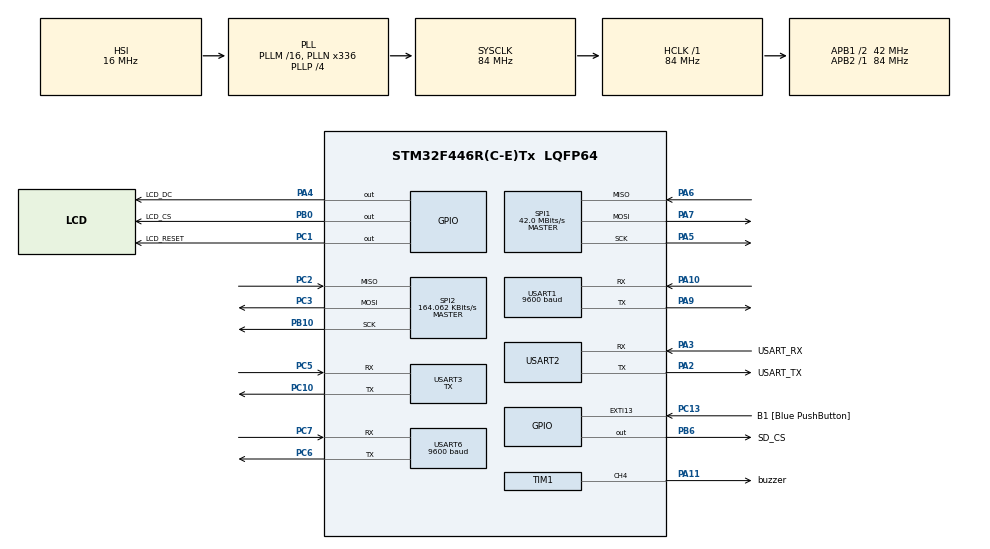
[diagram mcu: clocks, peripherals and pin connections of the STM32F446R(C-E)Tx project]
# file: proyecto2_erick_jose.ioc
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FATFS._MAX_SS=4096
FATFS._USE_LFN=1
Mcu.Family=STM32F4
Mcu.Name=STM32F446R(C-E)Tx
Mcu.Package=LQFP64
NVIC.PriorityGroup=NVIC_PRIORITYGROUP_0
NVIC.USART1_IRQn=true\:0\:0\:false\:false\:true\:true\:true\:true
NVIC.USART2_IRQn=true\:0\:0\:false\:false\:true\:true\:true\:true
NVIC.USART6_IRQn=true\:0\:0\:false\:false\:true\:true\:true\:true
PA10.Mode=Asynchronous
PA10.Signal=USART1_RX
PA11.GPIO_Label=buzzer
PA11.Signal=S_TIM1_CH4
PA13.GPIO_Label=TMS
PA13.Mode=Serial_Wire
PA13.Signal=SYS_JTMS-SWDIO
PA14.GPIO_Label=TCK
PA14.Mode=Serial_Wire
PA14.Signal=SYS_JTCK-SWCLK
PA2.GPIO_Label=USART_TX
PA2.Mode=Asynchronous
PA2.Signal=USART2_TX
PA3.GPIO_Label=USART_RX
PA3.Mode=Asynchronous
PA3.Signal=USART2_RX
PA4.GPIO_Label=LCD_DC
PA4.Signal=GPIO_Output
PA5.Mode=Full_Duplex_Master
PA5.Signal=SPI1_SCK
PA6.Mode=Full_Duplex_Master
PA6.Signal=SPI1_MISO
PA7.Mode=Full_Duplex_Master
PA7.Signal=SPI1_MOSI
PA9.Mode=Asynchronous
PA9.Signal=USART1_TX
PB0.GPIO_Label=LCD_CS
PB0.Signal=GPIO_Output
PB10.Mode=Full_Duplex_Master
PB10.Signal=SPI2_SCK
PB3.GPIO_Label=SWO
PB3.Signal=SYS_JTDO-SWO
PB6.GPIO_Label=SD_CS
PB6.PinState=GPIO_PIN_SET
PB6.Signal=GPIO_Output
PC1.GPIO_Label=LCD_RESET
PC1.Signal=GPIO_Output
PC10.Mode=Asynchronous
PC10.Signal=USART3_TX
PC13.GPIO_Label=B1 [Blue PushButton]
PC13.GPIO_ModeDefaultEXTI=GPIO_MODE_IT_FALLING
PC13.Signal=GPXTI13
PC14-OSC32_IN.Mode=LSE-External-Oscillator
PC14-OSC32_IN.Signal=RCC_OSC32_IN
PC15-OSC32_OUT.Mode=LSE-External-Oscillator
PC15-OSC32_OUT.Signal=RCC_OSC32_OUT
PC2.Mode=Full_Duplex_Master
PC2.Signal=SPI2_MISO
PC3.Mode=Full_Duplex_Master
PC3.Signal=SPI2_MOSI
PC5.Mode=Asynchronous
PC5.Signal=USART3_RX
PC6.Mode=Asynchronous
PC6.Signal=USART6_TX
PC7.Mode=Asynchronous
PC7.Signal=USART6_RX
PH0-OSC_IN.Mode=HSE-External-Oscillator
PH0-OSC_IN.Signal=RCC_OSC_IN
PH1-OSC_OUT.Mode=HSE-External-Oscillator
PH1-OSC_OUT.Signal=RCC_OSC_OUT
ProjectManager.HeapSize=0x200
ProjectManager.StackSize=0x400
ProjectManager.TargetToolchain=STM32CubeIDE
RCC.48MHZClocksFreq_Value=84000000
RCC.AHBFreq_Value=84000000
RCC.APB1CLKDivider=RCC_HCLK_DIV2
RCC.APB1Freq_Value=42000000
RCC.APB1TimFreq_Value=84000000
RCC.APB2Freq_Value=84000000
RCC.APB2TimFreq_Value=84000000
RCC.CortexFreq_Value=84000000
RCC.FLatency-AdvancedSettings=FLASH_LATENCY_2
RCC.HCLKFreq_Value=84000000
RCC.HSE_VALUE=8000000
RCC.HSI_VALUE=16000000
RCC.PLLN=336
RCC.PLLP=RCC_PLLP_DIV4
RCC.SYSCLKFreq_VALUE=84000000
RCC.SYSCLKSource=RCC_SYSCLKSOURCE_PLLCLK
RCC.USBFreq_Value=168000000
RCC.VCOOutputFreq_Value=336000000
SH.S_TIM1_CH4.0=TIM1_CH4,PWM Generation4 CH4
SPI1.BaudRatePrescaler=SPI_BAUDRATEPRESCALER_2
SPI1.CalculateBaudRate=42.0 MBits/s
SPI1.Direction=SPI_DIRECTION_2LINES
SPI1.Mode=SPI_MODE_MASTER
SPI1.VirtualType=VM_MASTER
SPI2.BaudRatePrescaler=SPI_BAUDRATEPRESCALER_256
SPI2.CalculateBaudRate=164.062 KBits/s
SPI2.Direction=SPI_DIRECTION_2LINES
SPI2.Mode=SPI_MODE_MASTER
SPI2.VirtualType=VM_MASTER
TIM1.AutoReloadPreload=TIM_AUTORELOAD_PRELOAD_ENABLE
TIM1.Channel-PWM\ Generation4\ CH4=TIM_CHANNEL_4
TIM1.Period=100-1
TIM1.Pulse-PWM\ Generation4\ CH4=50
USART1.BaudRate=9600
USART1.Mode=MODE_RX
USART1.VirtualMode=VM_ASYNC
USART2.VirtualMode=VM_ASYNC
USART3.Mode=MODE_TX
USART3.VirtualMode=VM_ASYNC
USART6.BaudRate=9600
USART6.Mode=MODE_RX
USART6.VirtualMode=VM_ASYNC
VP_FATFS_VS_Generic.Mode=User_defined
VP_TIM1_VS_ClockSourceINT.Mode=Internal
board=NUCLEO-F446RE

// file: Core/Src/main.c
/* USER CODE BEGIN Header */
/**
  ******************************************************************************
  * @file           : main.c
  * @brief          : Main program body
  ******************************************************************************
  * @attention
  *
  * Copyright (c) 2026 STMicroelectronics.
  * All rights reserved.
  *
  * This software is licensed under terms that can be found in the LICENSE file
  * in the root directory of this software component.
  * If no LICENSE file comes with this software, it is provided AS-IS.
  *
  ******************************************************************************
  */
/* USER CODE END Header */
#include "main.h"
#include "fatfs.h"

/* USER CODE BEGIN Includes */
#include "ili9341.h"
#include "bitmaps.h"
//musica
#include <stdio.h>
#include <string.h>
#include "math.h"
#include "pitches.h"
//----------SD--------//
#include "fatfs_sd.h"

/* USER CODE END Includes */

/* USER CODE BEGIN PTD */
typedef enum{
	ESTADO_MENU,
	ESTADO_JUG1,
	ESTADO_JUG2,
	ESTADO_VICTORIA
}GameState;

typedef struct{
	float x, y;
	int w, h;
	int vivo;
	int explosion;
	int frame_explosion;
	int frame;
}Nave;

typedef struct{
	float x, y;
	int activo;
}Bala;

typedef enum{
	ENTRANDO,
	FORMACION//,
	//INACTIVO,
	//ENTRADA_SENO,
	//ENTRADA_LOOP,
	//ATAQUE
}EstadoAlien;

typedef struct{
	float x, y;												//posicion
	float x_base, y_base;									//centro de formacion
	int vivo;												//1 alien vivo, 0 alien muerto
	int tipo;												//tipo de alien (de los 4 sprites)
	int w, h;												//width y height
	int frame;												//animacion
	int explosion;
	int frame_explosion;
	float t;												//tiempo/anngulo para seno
	float amplitud;											//q tan rapido se mueve el alien
	float frecuencia; 										//q tan rapido oscila
	EstadoAlien estado;
}Alien;

/* USER CODE END PTD */

/* USER CODE BEGIN PD */
#define TIM_FREQ 84000000
//#define ARR 100
#define TIM_ARR_VAL 100
#define CMD_IZQ      0x01
#define CMD_IZQ_OFF  0x02
#define CMD_DER      0x03
#define CMD_DER_OFF  0x04
#define CMD_DIS      0x05
#define CMD_DIS_OFF  0x06
#define CMD_SEL		 0x07
#define CMD_SEL_OFF  0x08
#define CMD_ARR      0x09
#define CMD_ARR_OFF  0x0A
#define CMD_ABJ      0x0B
#define CMD_ABJ_OFF  0x0C

//audio
#define SND_MENU       0x01
#define SND_JUEGO      0x02
#define SND_DISPARO    0x03
#define SND_EXPLOSION  0x04
#define SND_NAVE_CAE   0x05
#define SND_VICTORIA   0x06
#define SND_PUNTAJE 0x07
#define SND_ALIEN_ROJO 0x08
#define SND_ALIEN_AZUL 0x09
#define SND_VERDE_F1 0x0a
#define SND_VERDE_F2 0x0b

//-------DEF SD----------------//
//SPI_HandleTypeDef hspi2;
FATFS fs;
FATFS *pfs;
FIL fil;
FRESULT fres;
DWORD fre_clust;
uint32_t totalSpace, freeSpace;
char buffer[100];
/* USER CODE END PD */

SPI_HandleTypeDef hspi1;
SPI_HandleTypeDef hspi2;

TIM_HandleTypeDef htim1;

UART_HandleTypeDef huart1;
UART_HandleTypeDef huart2;
UART_HandleTypeDef huart3;
UART_HandleTypeDef huart6;

/* USER CODE BEGIN PV */
extern const uint16_t fondo[];
extern const uint16_t espacio[];
extern const uint16_t inicio[];

//-----------Menu-------------//
GameState modoActual = ESTADO_MENU;
int SeleccionMenu = 0;
Nave J1, J2;
uint32_t timerNaves = 0;
static int seleccionPrevia = -1;
static uint8_t musicaMenu = 0;
static uint8_t musicaJuego = 0;

//--------Stages-------------//
int StageActual = 1;
int MaxStages = 6;
uint8_t mostrandoStage = 0;
uint32_t timerStage = 0;
int StageAliens = 4;
int MaxAliens = 4;
#define DURACION_STAGE_MS 2500

//---------Controles---------//
uint8_t rxByte1;
uint8_t rxByte2;
volatile uint8_t nave1_izq = 0;
volatile uint8_t nave1_der = 0;
volatile uint8_t nave1_dis = 0;
volatile uint8_t nave1_sel = 0;
volatile uint8_t nave1_arr = 0;
volatile uint8_t nave1_abj = 0;
volatile uint8_t nave2_izq = 0;
volatile uint8_t nave2_der = 0;
volatile uint8_t nave2_dis = 0;
volatile uint8_t nave2_sel = 0;
volatile uint8_t nave2_arr = 0;
volatile uint8_t nave2_abj = 0;

//-------Puntaje----------------//
char Score[30];

//-------Despliege de aliens----//
#define MAX_ALIENS 12
Alien Enemigos[MAX_ALIENS];
int frameActual = 0;
uint32_t timerAliens = 0;
uint32_t timerAnimacionAliens = 0;
int AlienActual = 0;
uint32_t tiempoSpawn = 0;
static float vaiven = 0;
int aliensVivos = 0;

//---Disparo de naves/aliens---//
#define MAX_BALAS 5
Bala disparo_J1[MAX_BALAS];
Bala disparo_J2[MAX_BALAS];
uint32_t timerBalas = 0;
Bala balas_aliens[MAX_BALAS];
uint32_t timerBalasAliens = 0;
int scoreJ1 = 0, scoreJ2 = 0;
int CausaVictoria = 0;
uint32_t timerExplo = 0;
/* USER CODE END PV */

void SystemClock_Config(void);
static void MX_GPIO_Init(void);
static void MX_SPI1_Init(void);
static void MX_TIM1_Init(void);
static void MX_USART2_UART_Init(void);
static void MX_USART1_UART_Init(void);
static void MX_USART6_UART_Init(void);
static void MX_SPI2_Init(void);
static void MX_USART3_UART_Init(void);
/* USER CODE BEGIN PFP */
void PantallaInicio(void);
void Dibujar(void);
void MostrarStage(int stage);
void Limpiar(void);
void InitStage1(void);
void InitStage2(void);
void InitStage3(void);
void Iniciar(int stage);
void InitEnemigos(int stage);
void MoverAliens(void);
void MoverNaves(void);
void InitJuego1(void);
void Disparar(int jugador);
int ChequearColision(float x1, float y1, int w1, int h1, float x2, float y2, int w2, int h2);
void ActualizarBalas(void);
void InitJuego2(void);
void GuardarScoreSD(char* evento);
void Ganador_J1(void);
void Ganador_J2(void);
void Marco(void);
void transicion(void);
/* USER CODE END PFP */

/* USER CODE BEGIN 0 */
void Musica_Comando(uint8_t cmd) {
    HAL_UART_Transmit(&huart3, &cmd, 1, 100);
}

void PantallaInicio(void)
{
	LCD_Bitmap(0, 0, 320, 240, inicio);

	//Texto pantalla de inicio
	LCD_Print("1UP", 10, 5, 1, 0xF800, 0x0000);
	LCD_Print("00", 18, 15, 1, 0xFFFF, 0x0000);
	LCD_Print("HIGH-SCORE", 110, 5, 1, 0xF800, 0x0000);
	LCD_Print("30000", 123, 15, 1, 0xFFFF, 0x0000);
	LCD_Print("2UP", 280, 5, 1, 0xF800, 0x0000);
	LCD_Print("00", 288, 15, 1, 0xFFFF, 0x0000);
	//Logo
	LCD_Bitmap(80, 35, 160, 95, galagazo);
	LCD_Print("1 PLAYER", 90, 140, 2, 0xFFFF, 0x0000);
	LCD_Print("2 PLAYER", 90, 165, 2, 0xFFFF, 0x0000);
	LCD_Print("Jose Orozco - 231093", 95, 205, 1, 0xFFFF, 0x0000);
	LCD_Print("Erick Perez - 23001", 95, 225, 1, 0xFFFF, 0x0000);

}

void MostrarStage(int stage)
{
	FillRect(55, 90, 210, 55, 0x0000);
	FillRect(55, 90, 210, 3, 0xF800);
	FillRect(55, 142, 210, 3, 0xF800);
	FillRect(55, 90, 3, 55, 0xF800);
	FillRect(262, 90, 3, 55, 0xF800);
	char mensaje[20];
	sprintf(mensaje, "STAGE %d", stage);
	LCD_Print(mensaje, 100, 113, 2, 0xFD20, 0x0000);
	Musica_Comando(0x02);
}

void Limpiar(void)
{
	FillRect(55, 90, 210, 55, 0x0000);
}

void InitStage1(void)
{
	float posiciones[4] = {60, 130, 190, 260};
	int tipos[4] = {0, 0, 1, 1};

	for(int i = 0; i < 4; i++)
	{
		Enemigos[i].x_base = posiciones[i];
		Enemigos[i].y_base = 55;
		Enemigos[i].x = Enemigos[i].x_base;
		Enemigos[i].y = -20;
		Enemigos[i].vivo = 0;
		Enemigos[i].explosion = 0;
		Enemigos[i].frame_explosion = 0;
		Enemigos[i].estado = ENTRANDO;
		Enemigos[i].tipo = tipos[i];
		Enemigos[i].amplitud = 35.0;
		Enemigos[i].t = 0;

		switch(Enemigos[i].tipo)
		{
		case 0:
			Enemigos[i].w = 19;			//verde
			Enemigos[i].h = 17;
			break;
		case 1:
			Enemigos[i].w = 17;			//rojo
			Enemigos[i].h = 16;
			break;
		}
	}
	for(int i = 4; i < MAX_ALIENS; i++)
	{
		Enemigos[i].vivo = 0;
		Enemigos[i].explosion = 0;
	}
}

void InitStage2(void)
{
	float posiciones[4] = {60, 130, 190, 260};

	for(int i = 4; i < 8; i++)
	{
		Enemigos[i].x_base = posiciones[i - 4];
		Enemigos[i].y_base = 90;
		Enemigos[i].x = -20;
		Enemigos[i].y = 90;
		Enemigos[i].vivo = 0;
		Enemigos[i].explosion = 0;
		Enemigos[i].frame_explosion = 0;
		Enemigos[i].estado = ENTRANDO;
		Enemigos[i].tipo = 2;
		Enemigos[i].amplitud = 30.0;
		Enemigos[i].t = 0;
		Enemigos[i].w = 17;
		Enemigos[i].h = 14;

	}
	for(int i = 8; i < MAX_ALIENS; i++){
		Enemigos[i].vivo = 0;
		Enemigos[i].explosion = 0;
	}
}

void InitStage3(void)
{
	float posiciones[4] = {60, 130, 190, 260};

	for(int i = 8; i < 12; i++)
	{
		Enemigos[i].x_base = posiciones[i - 8];
		Enemigos[i].y_base = 125;
		Enemigos[i].x = 320;
		Enemigos[i].y = 125;
		Enemigos[i].vivo = 0;
		Enemigos[i].explosion = 0;
		Enemigos[i].frame_explosion = 0;
		Enemigos[i].estado = ENTRANDO;
		Enemigos[i].tipo = 3;
		Enemigos[i].amplitud = 25.0;
		Enemigos[i].t = 0;
		Enemigos[i].w = 19;
		Enemigos[i].h = 17;

	}
}

void Iniciar(int stage)
{
	vaiven = 0;

	for(int i = 0; i < MAX_BALAS; i++)
	{
		disparo_J1[i].activo = 0;
		disparo_J2[i].activo = 0;
		balas_aliens[i].activo = 0;
	}

	for(int i = 0; i < MAX_ALIENS; i++){
		Enemigos[i].vivo = 0;
		Enemigos[i].explosion = 0;
	}

	if(stage == 1)
	{

		AlienActual = 0;
		MaxAliens = 4;
		InitStage1();
	}else if(stage == 2){
		InitStage1();
		InitStage2();
		AlienActual = 0;
		MaxAliens = 8;
	}else if(stage == 3){
		InitStage1();
		InitStage2();
		InitStage3();
		AlienActual = 0;
		MaxAliens = 12;
	}else{
		InitStage1();
		InitStage2();
		InitStage3();
		AlienActual = 0;
		MaxAliens = 12;
	}
	aliensVivos = 0;
	transicion();
	LCD_Clear(0x0000);
	Dibujar();
	mostrandoStage = 1;
	timerStage = HAL_GetTick();
	MostrarStage(stage);
}

void InitJuego1(void)
{
	J1.x = 152;
	J1.y = 210;
	J1.w = 17;
	J1.h = 15;
	J1.vivo = 1;
	J1.explosion = 0;
	J1.frame_explosion = 0;

	StageActual = 1;
	for(int i = 0; i < MAX_ALIENS; i++){
		Enemigos[i].vivo = 0;
		Enemigos[i].explosion = 0;
	}

	Iniciar(1);
}

void InitJuego2(void)
{
	J1.x = 70;
	J1.y = 210;
	J1.w = 17;
	J1.h = 15;
	J1.vivo = 1;
	J1.explosion = 0;
	J1.frame_explosion = 0;

	J2.x = 230;
	J2.y = 210;
	J2.w = 17;
	J2.h = 15;
	J2.vivo = 1;
	J2.explosion = 0;
	J2.frame_explosion = 0;

	StageActual = 1;
	for(int i = 0; i < MAX_ALIENS; i++){
		Enemigos[i].vivo = 0;
		Enemigos[i].explosion = 0;
	}
	Iniciar(1);
}

void MoverAliens(void)
{
	float vaiven_limpieza = vaiven;
	vaiven += 0.035;
	float offsetFormacion = sin(vaiven) * 40.0;
	float offsetViejo = sin(vaiven_limpieza) * 40.0;
	int dxFormacion = (int)offsetFormacion - (int)offsetViejo;

	for(int i = 0; i < MAX_ALIENS; i++){
		if(Enemigos[i].vivo || Enemigos[i].explosion)
		{
			if(Enemigos[i].explosion){
				FillRect((int)Enemigos[i].x, (int)Enemigos[i].y, 30, 30, 0x0000);
				LCD_Sprite((int)Enemigos[i].x, (int)Enemigos[i].y, 21, 19, explosion_alien, 4, Enemigos[i].frame_explosion, 0, 0, 0x0000);
			}else{
				int FrameADibujar = frameActual;
				switch(Enemigos[i].estado)
				{
				case ENTRANDO:
					float x_ant = Enemigos[i].x;
					float y_ant = Enemigos[i].y;
					if(Enemigos[i].tipo < 2){
						Enemigos[i].y += 1.6;
						float lado = (Enemigos[i].x_base < 160.0) ? 1.0 : -1.0;
						float inicio_x = (lado > 0) ? 40.0 : 280.0;
						float progreso = (Enemigos[i].y + 20.0) / (Enemigos[i].y_base + 20);
						if (progreso > 1.0){
							progreso = 1.0;
						}
						float centro_x = inicio_x + (Enemigos[i].x_base - inicio_x) * progreso;
						float zigzag = lado * sin(Enemigos[i].y * 0.05) * Enemigos[i].amplitud * (1.0 - progreso);
						Enemigos[i].x = centro_x + zigzag;
					}else if(Enemigos[i].tipo == 2){
						Enemigos[i].x += 2.5;
					}else if(Enemigos[i].tipo == 3){
						Enemigos[i].x -= 2.5;
					}

					int dx = (int)Enemigos[i].x - (int)x_ant;
					int dy = (int)Enemigos[i].y - (int)y_ant;
					//int margen = 6;
					if(dx > 0)
					{
						FillRect((int)x_ant, (int)y_ant, dx, Enemigos[i].h, 0x0000);
					}else if(dx < 0){
						FillRect((int)Enemigos[i].x + Enemigos[i].w, (int)y_ant, -dx, Enemigos[i].h, 0x0000);
					}
					if(dy > 0)
					{
						FillRect((int)x_ant, (int)y_ant, Enemigos[i].w, dy, 0x0000);
					}

					if(Enemigos[i].tipo < 2){
						if(Enemigos[i].y >= Enemigos[i].y_base){
							FillRect((int)x_ant, (int)y_ant, Enemigos[i].w + 2, Enemigos[i].h + 2, 0x0000);
							Enemigos[i].y = Enemigos[i].y_base;
							Enemigos[i].estado = FORMACION;
						}
					}else{
						if((Enemigos[i].tipo == 2 && Enemigos[i].x >= Enemigos[i].x_base) || (Enemigos[i].tipo == 3 && Enemigos[i].x <= Enemigos[i].x_base)){
							Enemigos[i].x = Enemigos[i].x_base;
							Enemigos[i].estado = FORMACION;
						}
					}

					break;
				case FORMACION:
					Enemigos[i].x = Enemigos[i].x_base + offsetFormacion;
					Enemigos[i].y = Enemigos[i].y_base;
					FrameADibujar = frameActual % 2;
					if(dxFormacion > 0)
					{
						FillRect((int)Enemigos[i].x_base + offsetViejo, (int)Enemigos[i].y, dxFormacion, Enemigos[i].h, 0x0000);
					}else if(dxFormacion < 0){
						FillRect((int)Enemigos[i].x + Enemigos[i].w, (int)Enemigos[i].y, -dxFormacion, Enemigos[i].h, 0x0000);
					}
					break;
				}
				const uint16_t *spriteActual;
				if(Enemigos[i].tipo	== 0)
				{
					spriteActual = alien_verde;
				}
				else if(Enemigos[i].tipo == 1)
				{
					spriteActual = alien_rojo;
				}
				else if(Enemigos[i].tipo == 2)
				{
					spriteActual = mosca;
				}
				else
				{
					spriteActual = alien_azul;
				}
				LCD_Sprite((int)Enemigos[i].x, (int)Enemigos[i].y, (int)Enemigos[i].w, (int)Enemigos[i].h, spriteActual, 8, FrameADibujar, 0, 0, 0x0000);
			}
		}
	}
}

void MoverNaves(void)
{
	if(J1.vivo || J1.explosion)
	{
		if(J1.explosion){
			FillRect((int)J1.x - 5, (int)J1.y - 5, 34, 34, 0x0000);
			LCD_Sprite((int)J1.x, (int)J1.y, 30, 32, explosion_nave, 4, J1.frame_explosion, 0, 0, 0x0000);
		}else{
			float x_prev = J1.x;
			if(nave1_izq && J1.x > 0){
				J1.x -= 2.5;
			}
			if(nave1_der){
				float limite = (modoActual == ESTADO_JUG2) ? 143 : 303;
				if(J1.x < limite)
				{
					J1.x += 2.5;
				}
			}
			int dx = (int)J1.x - (int)x_prev;
			if(dx > 0){
				FillRect((int)x_prev, (int)J1.y, dx, J1.h, 0x0000);
			}else if(dx < 0){
				FillRect((int)J1.x + J1.w, (int)J1.y, -dx, J1.h, 0x0000);
			}
			LCD_Sprite((int)J1.x, (int)J1.y, J1.w, J1.h, navesita, 3, frameActual % 3, 0, 0, 0x0000);
		}
	}

	if(modoActual == ESTADO_JUG2 && (J2.vivo || J2.explosion))
	{
		if(J2.explosion){
			FillRect((int)J2.x - 5, (int)J2.y - 5, 34, 34, 0x0000);
			LCD_Sprite((int)J2.x, (int)J2.y, 30, 32, explosion_nave, 4, J2.frame_explosion, 0, 1, 0x0000);
		}else{
			float x_prev = J2.x;
			if(nave2_izq && J2.x > 162){
				J2.x -= 2.5;
			}
			if(nave2_der && J2.x < 303){
				J2.x += 2.5;
			}
			int dx = (int)J2.x - (int)x_prev;
			if(dx > 0){
				FillRect((int)x_prev, (int)J2.y, dx, J2.h, 0x0000);
			}else if(dx < 0){
				FillRect((int)J2.x + J2.w, (int)J2.y, -dx, J1.h, 0x0000);
			}
			LCD_Sprite((int)J2.x, (int)J2.y, J2.w, J2.h, navesita, 3, frameActual % 3, 1, 0, 0x0000);
		}
	}
}

void Marco(void)
{
	Rect(0, 0, 319, 239, 0x6000);
	Rect(1, 1, 317, 237, 0xF800);
	Rect(2, 2, 315, 235, 0xFFFF);
	Rect(3, 3, 313, 233, 0xF800);
}

void Dibujar(void)
{
	if(modoActual  == ESTADO_JUG1){
		LCD_Print("1UP", 10, 5, 1, 0xF800, 0x0000);
		sprintf(Score, "%05d", scoreJ1);
		LCD_Print(Score, 10, 15, 1, 0xFFFF, 0x0000);
		LCD_Print("HIGH SCORE", 240, 2, 1, 0xF800, 0x0000);
		LCD_Print("30000", 260, 12, 1, 0xFFFF, 0x0000);
	}

	if(modoActual == ESTADO_JUG2)
	{
		LCD_Print("1UP", 10, 5, 1, 0xF800, 0x0000);
		sprintf(Score, "%05d", scoreJ1);
		LCD_Print(Score, 10, 15, 1, 0xFFFF, 0x0000);
		LCD_Print("2UP", 280, 5, 1, 0xF800, 0x0000);
		sprintf(Score, "%05d", scoreJ2);
		LCD_Print(Score, 265, 15, 1, 0xFFFF, 0x0000);
	}
}

void Disparar(int jugador)
{
	Bala* lista = (jugador == 1) ? disparo_J1 : disparo_J2;
	Nave* n = (jugador == 1) ? &J1 : &J2;

	for(int i = 0; i < MAX_BALAS; i++){
		if(!lista[i].activo){
			lista[i].x = n->x + (n->w / 2) - 1;
			lista[i].y = n->y - 5;
			lista[i].activo = 1;
			break;
		}
	}

}

void ActualizarBalas(void)
{
	for(int j = 1; j <= 2; j++){
		Bala* lista = (j == 1) ? disparo_J1 : disparo_J2;
		for(int i = 0; i < MAX_BALAS; i++){
			if(lista[i].activo){
				FillRect((int)lista[i].x, (int)lista[i].y, 5, 10, 0x0000);
				lista[i].y -= 5.0;
				if(lista[i].y < 14){
					lista[i].activo = 0;
				}else{
					LCD_Sprite((int)lista[i].x, (int)lista[i].y, 5, 10, disparo_nave, 2, 0, 0, 0, 0x0000);
				}
			}
		}
	}
	//Balas de aliens
	for(int i = 0; i < MAX_BALAS; i++){
		if(balas_aliens[i].activo){
			FillRect((int)balas_aliens[i].x, (int)balas_aliens[i].y, 5, 10, 0x0000);
			balas_aliens[i].y += 3.5; // Velocidad de caída
			if(balas_aliens[i].y > 230){
				balas_aliens[i].activo = 0;
			}else{
				LCD_Sprite((int)balas_aliens[i].x, (int)balas_aliens[i].y, 5, 10, disparo_alien, 2, 0, 0, 0, 0x0000);
			}
		}
	}
}

int ChequearColision(float x1, float y1, int w1, int h1, float x2, float y2, int w2, int h2)
{
	return (x1 < x2 + w2 && x1 + w1 > x2 && y1 < y2 + h2 && y1 + h1 > y2);
}

void GuardarScoreSD(char* evento) {
	fres = f_open(&fil, "SCORE.TXT", FA_WRITE | FA_OPEN_ALWAYS);
	if(fres == FR_OK){
		f_lseek(&fil, f_size(&fil));
		char linSD[60];
		sprintf(linSD, "%s | J1:%d J2:%d\n",evento, scoreJ1, scoreJ2);
		f_puts(linSD, &fil);
		f_close(&fil);
	}
}

void Ganador_J1(void)
{
	LCD_Clear(0x0000);
	Marco();

	LCD_Print("YOUR SCORE", 40, 15, 1, 0xF800, 0x0000);
	sprintf(Score, "%05d", scoreJ1);
	LCD_Print(Score, 40, 25, 1, 0x07FF, 0x0000);

	LCD_Print("HIGH SCORE", 200, 15, 1, 0xF800, 0x0000);
	int highscore = (scoreJ1 >= scoreJ2) ? scoreJ1 : scoreJ2;
	sprintf(Score, "%05d", highscore);
	LCD_Print(Score, 200, 25, 1, 0x07FF, 0x0000);

	LCD_Print("PLAYER 1 WINS", 60, 75, 2, 0xF800, 0x0000);

	char linea[30];
	sprintf(linea, "P1: %05d", scoreJ1);
	LCD_Print(linea, 80, 120, 1, 0xFFFF, 0x0000);
	sprintf(linea, "P2: %05d", scoreJ2);
	LCD_Print(linea, 80, 135, 1, 0xFFFF, 0x0000);
	LCD_Print("TOP 5", 145, 155, 1, 0xFD20, 0x0000);
	LCD_Print("SCORE    NAME ", 100, 170, 1, 0x07FF, 0x0000);
	LCD_Print("1ST  49480   JO", 80, 180, 1, 0xFFFF, 0x0000);
	LCD_Print("2ND  20000   EP", 80, 192, 1, 0xFFFF, 0x0000);

	 fres = f_open(&fil, "SCORE.TXT", FA_WRITE | FA_OPEN_ALWAYS);
	 if(fres == FR_OK){
		 f_lseek(&fil, f_size(&fil));
		 char linSD[40];
		 sprintf(linSD, "GANADOR J1 | J1:%d J2:%d\n", scoreJ1, scoreJ2);
		 f_puts(linSD, &fil);
		 f_close(&fil);
	 }
	 GuardarScoreSD("VICTORIA J1");
	 Musica_Comando(0x07);

}

void Ganador_J2(void)
{
	LCD_Clear(0x0000);
	Marco();

	LCD_Print("YOUR SCORE", 40, 15, 1, 0xF800, 0x0000);
	sprintf(Score, "%05d", scoreJ2);
	LCD_Print(Score, 40, 25, 1, 0x07FF, 0x0000);

	LCD_Print("HIGH SCORE", 200, 15, 1, 0xF800, 0x0000);
	int highscore = (scoreJ1 >= scoreJ2) ? scoreJ1 : scoreJ2;
	sprintf(Score, "%05d", highscore);
	LCD_Print(Score, 200, 25, 1, 0x07FF, 0x0000);

	LCD_Print("PLAYER 2 WINS", 60, 75, 2, 0xF800, 0x0000);

	char linea[30];
	sprintf(linea, "P1: %05d", scoreJ1);
	LCD_Print(linea, 80, 120, 1, 0xFFFF, 0x0000);
	sprintf(linea, "P2: %05d", scoreJ2);
	LCD_Print(linea, 80, 135, 1, 0xFFFF, 0x0000);

	LCD_Print("TOP 5", 145, 150, 1, 0xFD20, 0x0000);
	LCD_Print("SCORE    NAME", 100, 170, 1, 0x07FF, 0x0000);
	LCD_Print("1ST  49480   JO", 80, 180, 1, 0xFFFF, 0x0000);
	LCD_Print("2ND  68929   EP", 80, 192, 1, 0xFFFF, 0x0000);

	GuardarScoreSD("VICTORIA J2");
	Musica_Comando(0x07);

}

void transicion(void)
{
	int ancho = 20;
	for (int i = 0; i < 320; i+= ancho){
		FillRect(i, 0, ancho, 240, 0x0000);
		HAL_Delay(15);
	}
}

/* USER CODE END 0 */

int main(void)
{

  /* MCU Configuration--------------------------------------------------------*/

  /* Reset of all peripherals, Initializes the Flash interface and the Systick. */
  HAL_Init();

  /* Configure the system clock */
  SystemClock_Config();

  /* Initialize all configured peripherals */
  MX_GPIO_Init();
  MX_SPI1_Init();
  MX_TIM1_Init();
  MX_USART2_UART_Init();
  MX_USART1_UART_Init();
  MX_USART6_UART_Init();
  MX_SPI2_Init();
  MX_FATFS_Init();
  MX_USART3_UART_Init();
  /* USER CODE BEGIN 2 */
  HAL_UART_Receive_IT(&huart1, &rxByte1, 1);
  HAL_UART_Receive_IT(&huart6, &rxByte2, 1);
  HAL_UART_Transmit(&huart2, (uint8_t*)"Sistema listo\r\n", 15, 1000);
  LCD_Init();
  LCD_Clear(0x00);

  HAL_Delay(1000);

  HAL_UART_Transmit(&huart2, (uint8_t*)"SD: Intentando conectar...\r\n", 28, 1000);

    // Bucle de 5 intentos para montar
  int intentos = 0;
  do {
	  fres = f_mount(&fs, "", 1);
	  if (fres != FR_OK) {
		  HAL_UART_Transmit(&huart2, (uint8_t*)".", 1, 1000);
		  HAL_Delay(100);
		  intentos++;
        }
    } while (fres != FR_OK && intentos < 5);

  if (fres == FR_OK) {

	  HAL_UART_Transmit(&huart2, (uint8_t*)"\r\nSD: Tarjeta Montada \r\n", 25, 1000);

        // Abrimos para escribir el Score inicial
	  fres = f_open(&fil, "SCORE.TXT", FA_WRITE | FA_OPEN_ALWAYS);
	  if (fres == FR_OK) {
            // Nos vamos al final del archivo para no borrar lo anterior
		  f_lseek(&fil, f_size(&fil));
		  f_puts("Partida iniciada...\n", &fil);
		  f_close(&fil);
		  HAL_UART_Transmit(&huart2, (uint8_t*)"SD: Log de inicio guardado.\r\n", 30, 1000);
        }
    } else {
    	sprintf(buffer, "\r\nSD: Fallo definitivo (Error: %d)\r\n", fres);
        HAL_UART_Transmit(&huart2, (uint8_t*)buffer, strlen(buffer), 1000);
    }

  /* USER CODE END 2 */

  /* Infinite loop */
  /* USER CODE BEGIN WHILE */
  HAL_TIM_PWM_Start(&htim1, TIM_CHANNEL_4);
  PantallaInicio();
  while (1)
  {
    /* USER CODE END WHILE */

    /* USER CODE BEGIN 3 */

	  uint32_t tick = HAL_GetTick();

	  switch(modoActual)
	  {
	  case ESTADO_MENU:
		  if(!musicaMenu){
			  Musica_Comando(0x01);
			  musicaMenu = 1;
			  musicaJuego = 0;
		  }
		  if(nave1_abj)
		  {
		  	  SeleccionMenu = 1;
		  	  nave1_abj = 0;
		  }
		  if(nave1_arr)
		  {
		  	  SeleccionMenu = 0;
		  	  nave1_arr = 0;
		  }
		  int cursor = (SeleccionMenu == 0) ? 140 : 165;
		  if(SeleccionMenu != seleccionPrevia)
		  {
			  LCD_Print(" ", 70, 140, 2, 0x0000, 0x0000);
			  LCD_Print(" ", 70, 165, 2, 0x0000, 0x0000);
			  LCD_Print(">", 70, cursor, 2, 0x07FF, 0x0000);
			  seleccionPrevia = SeleccionMenu;
		  }
		  if(nave1_sel)
		  {
		  	  nave1_sel = 0;
		  	  musicaMenu = 0;
		  	  Musica_Comando(0x02);
		  	  transicion();
		  	  LCD_Clear(0x0000);
		  	  seleccionPrevia = -1;
		  	  if(SeleccionMenu == 0)
		  	  {
		  		  InitJuego1();
		  		  modoActual = ESTADO_JUG1;
		  	  }else{
		  		  InitJuego2();
		  		  modoActual = ESTADO_JUG2;
		  	  }
		  	  //Dibujar();
		  }
		  break;

	  case ESTADO_JUG1:

	  case ESTADO_JUG2:
		  //Mostrar Stage
		  if(mostrandoStage){
			  if(HAL_GetTick() - timerStage >= DURACION_STAGE_MS){
				  Limpiar();
				  mostrandoStage = 0;
			  }
			  break;
		  }
		  //Movimiento de aliens
		  if(tick - timerAliens >= 50){
			  MoverAliens();
			  timerAliens = tick;
		  }
		  //Movimiento de naves
		  if(tick - timerNaves >= 20){
			  MoverNaves();
			  if(nave1_dis && J1.vivo && !J1.explosion){
				  Disparar(1);
				  Musica_Comando(0x03);
				  nave1_dis = 0;
			  }
			  if(modoActual == ESTADO_JUG2 && nave2_dis && J2.vivo && !J2.explosion){
				  Disparar(2);
				  Musica_Comando(0x03);
				  nave2_dis = 0;
			  }
			  timerNaves = tick;
		  }
		  //Disparo de balas
		  if(tick - timerBalas >= 15){
			  ActualizarBalas();
			  // Flags para saber si hay que redibujar (Deben estar en PV o inicializadas aquí)

			  uint8_t hayHitJ1 = 0;
			  uint8_t hayHitJ2 = 0;

			  for(int j = 1; j <= (modoActual == ESTADO_JUG2 ? 2 : 1); j++)
			  {
				  Bala* listaBalas = (j == 1) ? disparo_J1 : disparo_J2;
				  int* scoreActual = (j == 1) ? &scoreJ1 : &scoreJ2;

				  for(int b = 0; b < MAX_BALAS; b++)
				  {
					  if(listaBalas[b].activo)
					  {
						  for(int a = 0; a < MAX_ALIENS; a++)
						  {
							  if(Enemigos[a].vivo && !Enemigos[a].explosion)
							  {
								  if(ChequearColision(listaBalas[b].x, listaBalas[b].y, 5, 10, Enemigos[a].x, Enemigos[a].y, Enemigos[a].w, Enemigos[a].h))
								  {
									  FillRect((int)listaBalas[b].x, (int)listaBalas[b].y, 5, 10, 0x0000);
									  listaBalas[b].activo = 0;
									  Enemigos[a].explosion = 1;
									  Enemigos[a].frame_explosion = 0;
									  *scoreActual += 100;

									  if(j == 1) hayHitJ1 = 1;
									  else hayHitJ2 = 1;

									  if(Enemigos[a].tipo == 0){

										  Musica_Comando(0x08);			//rojo
									  }
									  else if(Enemigos[a].tipo == 1){
										  Musica_Comando(0x0a);  			//verde
		                              }

									  else if(Enemigos[a].tipo == 2){
										  Musica_Comando(0x09);			//mosca
									  }
									  else{
										  Musica_Comando(0x0b);			//azul
									  }
									  break;

								  }

							  }

						  }

					  }

				  }

			  }
			  //disparo de aliens azules
			  for(int i = 0; i < MAX_BALAS; i++)
			  {
				  if (balas_aliens[i].activo)
				  {
					  if (J1.vivo && !J1.explosion){
						  if (ChequearColision(balas_aliens[i].x, balas_aliens[i].y, 5, 10, J1.x, J1.y, J1.w, J1.h)){
							  FillRect((int)balas_aliens[i].x, (int)balas_aliens[i].y, 5, 10, 0x0000);
							  balas_aliens[i].activo = 0;
							  J1.explosion = 1;
							  J1.frame_explosion = 0;
							  Musica_Comando(0x04);
						  }
					  }
					  if (modoActual == ESTADO_JUG2 && J2.vivo && !J2.explosion)
					  {
						  if (ChequearColision(balas_aliens[i].x, balas_aliens[i].y, 5, 10, J2.x, J2.y, J2.w, J2.h)){
							  FillRect((int)balas_aliens[i].x, (int)balas_aliens[i].y, 5, 10, 0x0000);
							  balas_aliens[i].activo = 0;
							  J2.explosion = 1;
							  J2.frame_explosion = 0;
							  Musica_Comando(0x04);
						  }
					  }
				  }
			  }
			  // --- ACTUALIZACIÓN DE PANTALLA (Fuera de los ciclos para evitar lag) ---

			  if(hayHitJ1)
			  {
				  sprintf(Score, "%05d", scoreJ1);
				  LCD_Print(Score, 10, 15, 1, 0xFFFF, 0x0000);
			  }
			  if(hayHitJ2)
			  {
				  sprintf(Score, "%05d", scoreJ2);
				  LCD_Print(Score, 265, 15, 1, 0xFFFF, 0x0000);
			  }

			  timerBalas = tick;
		  }
		  //Movimiento en formacion de aliens
		  if(tick - timerAnimacionAliens >= 200)
		  {
			  frameActual = (frameActual + 1) % 8;
			  timerAnimacionAliens = tick;
		  }
		  //spawn de aliens desde arriba
		  if(tick - tiempoSpawn >= 800 && AlienActual < MaxAliens)
		  {
			  Enemigos[AlienActual].vivo = 1;
			  Enemigos[AlienActual].y = -20;
			  AlienActual++;
			  tiempoSpawn = tick;
		  }
		  //Colisiones
		  if(tick - timerExplo >= 60){
			  for(int i=0; i < MAX_ALIENS; i++){
				  if(Enemigos[i].explosion){
					  Enemigos[i].frame_explosion++;
					  if(Enemigos[i].frame_explosion >= 4){
						  FillRect((int)Enemigos[i].x, (int)Enemigos[i].y, 30, 30, 0x0000);
						  Enemigos[i].explosion = 0;
						  Enemigos[i].vivo = 0;
					  }
				  }
			  }
			  //explosion nave 1
			  if(J1.explosion)
			  {
				  J1.frame_explosion++;
				  if(J1.frame_explosion >= 4)
				  {
					  FillRect((int)J1.x - 5, (int)J1.y - 5, 36, 36, 0x0000);
					  J1.explosion = 0;
					  J1.vivo = 0;
					  Musica_Comando(0x07);

					  if(modoActual == ESTADO_JUG1){
						  CausaVictoria = 1;
						  modoActual = ESTADO_VICTORIA;
						  Musica_Comando(0x05);
					  }else if(modoActual == ESTADO_JUG2){
						  CausaVictoria = 3;
						  modoActual = ESTADO_VICTORIA;
						  Musica_Comando(0x05);
					  }
				  }
			  }
			  if(modoActual == ESTADO_JUG2  && J2.explosion){
				  J2.frame_explosion++;
				  if(J2.frame_explosion >= 4)
				  {
					  FillRect((int)J2.x - 5, (int)J2.y - 5, 36, 36, 0x0000);
					  J2.explosion = 0;
					  J2.vivo = 0;
					  CausaVictoria = 2;
					  modoActual = ESTADO_VICTORIA;
					  Musica_Comando(0x05);
				  }
			  }
			  timerExplo = tick;
		  }

		  //

		  //Disparo de aliens
		  if(tick - timerBalasAliens >= 1200)
		  {
			  for(int i = 0; i < MAX_ALIENS; i++){
				  if(Enemigos[i].vivo && Enemigos[i].tipo == 3 && Enemigos[i].estado == FORMACION){
					  if((tick & 0x1F) > 10){
						  for(int b = 0; b < MAX_BALAS; b++){
							  if(!balas_aliens[b].activo){
								  balas_aliens[b].x = Enemigos[i].x + (Enemigos[i].w / 2);
								  balas_aliens[b].y = Enemigos[i].y + Enemigos[i].h;
								  balas_aliens[b].activo = 1;
								  break;
							  }
						  }
					  }
				  }
			  }
			  timerBalasAliens = tick;
		  }

		  //Contar aliens vivos
		  aliensVivos = 0;
		  for(int i = 0; i < MaxAliens; i++)
		  {
			  if(Enemigos[i].vivo || Enemigos[i].explosion){
				  aliensVivos++;
			  }
		  }

		  //Conteo de aliens vivos
		  if(AlienActual >= MaxAliens && aliensVivos == 0 && modoActual != ESTADO_VICTORIA ){
			  if(StageActual < MaxStages)
			  {
				  StageActual++;
				  Iniciar(StageActual);
			  }else{
				  CausaVictoria = 0;
				  modoActual = ESTADO_VICTORIA;
				  Musica_Comando(0x07);
			  }
		  }

		  //Colision de aliens contra naves
		  for(int i=0; i < MAX_ALIENS; i++) {
			  if(Enemigos[i].vivo && !Enemigos[i].explosion)
			  {
				  if(J1.vivo && !J1.explosion && ChequearColision(Enemigos[i].x, Enemigos[i].y, Enemigos[i].w, Enemigos[i].h, J1.x, J1.y, J1.w, J1.h)){
					  J1.explosion = 1;
					  J1.frame_explosion = 0;
					  Musica_Comando(0x04);
				  }
				  if(modoActual == ESTADO_JUG2 && J2.vivo && !J2.explosion && ChequearColision(Enemigos[i].x, Enemigos[i].y, Enemigos[i].w, Enemigos[i].h, J2.x, J2.y, J2.w, J2.h)){
					  J2.explosion = 1;
					  J2.frame_explosion = 0;
					  Musica_Comando(0x04);
				  }
			  }
		  }
		  break;
	  case ESTADO_VICTORIA:
		  static uint8_t pantallaGanador = 0;

		  if(!pantallaGanador){
			  if(CausaVictoria == 0){
				  if(modoActual == ESTADO_VICTORIA && scoreJ2 > scoreJ1){
					  Ganador_J2();
				  }else{
					  Ganador_J1();
				  }
			  }else if(CausaVictoria == 1){
				  Ganador_J1();
			  }else if(CausaVictoria == 2){
				  Ganador_J1();
			  }else{
				  Ganador_J2();
			  }
			  pantallaGanador = 1;
		  }

		  if(nave1_sel || nave2_sel){
			  nave1_sel = 0;
			  nave2_sel = 0;
			  pantallaGanador = 0;
			  CausaVictoria = 0;
			  StageActual = 1;
			  MaxAliens = 4;
			  mostrandoStage = 0;
			  modoActual = ESTADO_MENU;
			  musicaMenu = 0;
			  LCD_Clear(0x0000);
			  PantallaInicio();
			  scoreJ1 = 0;
			  scoreJ2 = 0;
			  AlienActual = 0;
			  aliensVivos = 0;
			  for(int i=0; i<MAX_ALIENS; i++){
				  Enemigos[i].vivo = 0;
				  Enemigos[i].explosion = 0;
			  }
		  }
		  break;
	  }

  }
  /* USER CODE END 3 */
}

void SystemClock_Config(void)
{
  RCC_OscInitTypeDef RCC_OscInitStruct = {0};
  RCC_ClkInitTypeDef RCC_ClkInitStruct = {0};

  /** Configure the main internal regulator output voltage
  */
  __HAL_RCC_PWR_CLK_ENABLE();
  __HAL_PWR_VOLTAGESCALING_CONFIG(PWR_REGULATOR_VOLTAGE_SCALE3);

  /** Initializes the RCC Oscillators according to the specified parameters
  * in the RCC_OscInitTypeDef structure.
  */
  RCC_OscInitStruct.OscillatorType = RCC_OSCILLATORTYPE_HSI;
  RCC_OscInitStruct.HSIState = RCC_HSI_ON;
  RCC_OscInitStruct.HSICalibrationValue = RCC_HSICALIBRATION_DEFAULT;
  RCC_OscInitStruct.PLL.PLLState = RCC_PLL_ON;
  RCC_OscInitStruct.PLL.PLLSource = RCC_PLLSOURCE_HSI;
  RCC_OscInitStruct.PLL.PLLM = 16;
  RCC_OscInitStruct.PLL.PLLN = 336;
  RCC_OscInitStruct.PLL.PLLP = RCC_PLLP_DIV4;
  RCC_OscInitStruct.PLL.PLLQ = 2;
  RCC_OscInitStruct.PLL.PLLR = 2;
  if (HAL_RCC_OscConfig(&RCC_OscInitStruct) != HAL_OK)
  {
    Error_Handler();
  }

  /** Initializes the CPU, AHB and APB buses clocks
  */
  RCC_ClkInitStruct.ClockType = RCC_CLOCKTYPE_HCLK|RCC_CLOCKTYPE_SYSCLK
                              |RCC_CLOCKTYPE_PCLK1|RCC_CLOCKTYPE_PCLK2;
  RCC_ClkInitStruct.SYSCLKSource = RCC_SYSCLKSOURCE_PLLCLK;
  RCC_ClkInitStruct.AHBCLKDivider = RCC_SYSCLK_DIV1;
  RCC_ClkInitStruct.APB1CLKDivider = RCC_HCLK_DIV2;
  RCC_ClkInitStruct.APB2CLKDivider = RCC_HCLK_DIV1;

  if (HAL_RCC_ClockConfig(&RCC_ClkInitStruct, FLASH_LATENCY_2) != HAL_OK)
  {
    Error_Handler();
  }
}

static void MX_SPI1_Init(void)
{

  /* SPI1 parameter configuration*/
  hspi1.Instance = SPI1;
  hspi1.Init.Mode = SPI_MODE_MASTER;
  hspi1.Init.Direction = SPI_DIRECTION_2LINES;
  hspi1.Init.DataSize = SPI_DATASIZE_8BIT;
  hspi1.Init.CLKPolarity = SPI_POLARITY_LOW;
  hspi1.Init.CLKPhase = SPI_PHASE_1EDGE;
  hspi1.Init.NSS = SPI_NSS_SOFT;
  hspi1.Init.BaudRatePrescaler = SPI_BAUDRATEPRESCALER_2;
  hspi1.Init.FirstBit = SPI_FIRSTBIT_MSB;
  hspi1.Init.TIMode = SPI_TIMODE_DISABLE;
  hspi1.Init.CRCCalculation = SPI_CRCCALCULATION_DISABLE;
  hspi1.Init.CRCPolynomial = 10;
  if (HAL_SPI_Init(&hspi1) != HAL_OK)
  {
    Error_Handler();
  }

}

static void MX_SPI2_Init(void)
{

  /* SPI2 parameter configuration*/
  hspi2.Instance = SPI2;
  hspi2.Init.Mode = SPI_MODE_MASTER;
  hspi2.Init.Direction = SPI_DIRECTION_2LINES;
  hspi2.Init.DataSize = SPI_DATASIZE_8BIT;
  hspi2.Init.CLKPolarity = SPI_POLARITY_LOW;
  hspi2.Init.CLKPhase = SPI_PHASE_1EDGE;
  hspi2.Init.NSS = SPI_NSS_SOFT;
  hspi2.Init.BaudRatePrescaler = SPI_BAUDRATEPRESCALER_256;
  hspi2.Init.FirstBit = SPI_FIRSTBIT_MSB;
  hspi2.Init.TIMode = SPI_TIMODE_DISABLE;
  hspi2.Init.CRCCalculation = SPI_CRCCALCULATION_DISABLE;
  hspi2.Init.CRCPolynomial = 10;
  if (HAL_SPI_Init(&hspi2) != HAL_OK)
  {
    Error_Handler();
  }

}

static void MX_TIM1_Init(void)
{

  TIM_ClockConfigTypeDef sClockSourceConfig = {0};
  TIM_MasterConfigTypeDef sMasterConfig = {0};
  TIM_OC_InitTypeDef sConfigOC = {0};
  TIM_BreakDeadTimeConfigTypeDef sBreakDeadTimeConfig = {0};

  htim1.Instance = TIM1;
  htim1.Init.Prescaler = 0;
  htim1.Init.CounterMode = TIM_COUNTERMODE_UP;
  htim1.Init.Period = 100-1;
  htim1.Init.ClockDivision = TIM_CLOCKDIVISION_DIV1;
  htim1.Init.RepetitionCounter = 0;
  htim1.Init.AutoReloadPreload = TIM_AUTORELOAD_PRELOAD_ENABLE;
  if (HAL_TIM_Base_Init(&htim1) != HAL_OK)
  {
    Error_Handler();
  }
  sClockSourceConfig.ClockSource = TIM_CLOCKSOURCE_INTERNAL;
  if (HAL_TIM_ConfigClockSource(&htim1, &sClockSourceConfig) != HAL_OK)
  {
    Error_Handler();
  }
  if (HAL_TIM_PWM_Init(&htim1) != HAL_OK)
  {
    Error_Handler();
  }
  sMasterConfig.MasterOutputTrigger = TIM_TRGO_RESET;
  sMasterConfig.MasterSlaveMode = TIM_MASTERSLAVEMODE_DISABLE;
  if (HAL_TIMEx_MasterConfigSynchronization(&htim1, &sMasterConfig) != HAL_OK)
  {
    Error_Handler();
  }
  sConfigOC.OCMode = TIM_OCMODE_PWM1;
  sConfigOC.Pulse = 50;
  sConfigOC.OCPolarity = TIM_OCPOLARITY_HIGH;
  sConfigOC.OCFastMode = TIM_OCFAST_DISABLE;
  sConfigOC.OCIdleState = TIM_OCIDLESTATE_RESET;
  sConfigOC.OCNIdleState = TIM_OCNIDLESTATE_RESET;
  if (HAL_TIM_PWM_ConfigChannel(&htim1, &sConfigOC, TIM_CHANNEL_4) != HAL_OK)
  {
    Error_Handler();
  }
  sBreakDeadTimeConfig.OffStateRunMode = TIM_OSSR_DISABLE;
  sBreakDeadTimeConfig.OffStateIDLEMode = TIM_OSSI_DISABLE;
  sBreakDeadTimeConfig.LockLevel = TIM_LOCKLEVEL_OFF;
  sBreakDeadTimeConfig.DeadTime = 0;
  sBreakDeadTimeConfig.BreakState = TIM_BREAK_DISABLE;
  sBreakDeadTimeConfig.BreakPolarity = TIM_BREAKPOLARITY_HIGH;
  sBreakDeadTimeConfig.AutomaticOutput = TIM_AUTOMATICOUTPUT_DISABLE;
  if (HAL_TIMEx_ConfigBreakDeadTime(&htim1, &sBreakDeadTimeConfig) != HAL_OK)
  {
    Error_Handler();
  }
  HAL_TIM_MspPostInit(&htim1);

}

static void MX_USART1_UART_Init(void)
{

  huart1.Instance = USART1;
  huart1.Init.BaudRate = 9600;
  huart1.Init.WordLength = UART_WORDLENGTH_8B;
  huart1.Init.StopBits = UART_STOPBITS_1;
  huart1.Init.Parity = UART_PARITY_NONE;
  huart1.Init.Mode = UART_MODE_RX;
  huart1.Init.HwFlowCtl = UART_HWCONTROL_NONE;
  huart1.Init.OverSampling = UART_OVERSAMPLING_16;
  if (HAL_UART_Init(&huart1) != HAL_OK)
  {
    Error_Handler();
  }

}

static void MX_USART2_UART_Init(void)
{

  huart2.Instance = USART2;
  huart2.Init.BaudRate = 115200;
  huart2.Init.WordLength = UART_WORDLENGTH_8B;
  huart2.Init.StopBits = UART_STOPBITS_1;
  huart2.Init.Parity = UART_PARITY_NONE;
  huart2.Init.Mode = UART_MODE_TX_RX;
  huart2.Init.HwFlowCtl = UART_HWCONTROL_NONE;
  huart2.Init.OverSampling = UART_OVERSAMPLING_16;
  if (HAL_UART_Init(&huart2) != HAL_OK)
  {
    Error_Handler();
  }

}

static void MX_USART3_UART_Init(void)
{

  huart3.Instance = USART3;
  huart3.Init.BaudRate = 115200;
  huart3.Init.WordLength = UART_WORDLENGTH_8B;
  huart3.Init.StopBits = UART_STOPBITS_1;
  huart3.Init.Parity = UART_PARITY_NONE;
  huart3.Init.Mode = UART_MODE_TX;
  huart3.Init.HwFlowCtl = UART_HWCONTROL_NONE;
  huart3.Init.OverSampling = UART_OVERSAMPLING_16;
  if (HAL_UART_Init(&huart3) != HAL_OK)
  {
    Error_Handler();
  }

}

static void MX_USART6_UART_Init(void)
{

  huart6.Instance = USART6;
  huart6.Init.BaudRate = 9600;
  huart6.Init.WordLength = UART_WORDLENGTH_8B;
  huart6.Init.StopBits = UART_STOPBITS_1;
  huart6.Init.Parity = UART_PARITY_NONE;
  huart6.Init.Mode = UART_MODE_RX;
  huart6.Init.HwFlowCtl = UART_HWCONTROL_NONE;
  huart6.Init.OverSampling = UART_OVERSAMPLING_16;
  if (HAL_UART_Init(&huart6) != HAL_OK)
  {
    Error_Handler();
  }

}

static void MX_GPIO_Init(void)
{
  GPIO_InitTypeDef GPIO_InitStruct = {0};

  /* GPIO Ports Clock Enable */
  __HAL_RCC_GPIOC_CLK_ENABLE();
  __HAL_RCC_GPIOH_CLK_ENABLE();
  __HAL_RCC_GPIOA_CLK_ENABLE();
  __HAL_RCC_GPIOB_CLK_ENABLE();

  /*Configure GPIO pin Output Level */
  HAL_GPIO_WritePin(LCD_RESET_GPIO_Port, LCD_RESET_Pin, GPIO_PIN_RESET);

  /*Configure GPIO pin Output Level */
  HAL_GPIO_WritePin(LCD_DC_GPIO_Port, LCD_DC_Pin, GPIO_PIN_RESET);

  /*Configure GPIO pin Output Level */
  HAL_GPIO_WritePin(LCD_CS_GPIO_Port, LCD_CS_Pin, GPIO_PIN_RESET);

  /*Configure GPIO pin Output Level */
  HAL_GPIO_WritePin(SD_CS_GPIO_Port, SD_CS_Pin, GPIO_PIN_SET);

  /*Configure GPIO pin : B1_Pin */
  GPIO_InitStruct.Pin = B1_Pin;
  GPIO_InitStruct.Mode = GPIO_MODE_IT_FALLING;
  GPIO_InitStruct.Pull = GPIO_NOPULL;
  HAL_GPIO_Init(B1_GPIO_Port, &GPIO_InitStruct);

  /*Configure GPIO pin : LCD_RESET_Pin */
  GPIO_InitStruct.Pin = LCD_RESET_Pin;
  GPIO_InitStruct.Mode = GPIO_MODE_OUTPUT_PP;
  GPIO_InitStruct.Pull = GPIO_NOPULL;
  GPIO_InitStruct.Speed = GPIO_SPEED_FREQ_LOW;
  HAL_GPIO_Init(LCD_RESET_GPIO_Port, &GPIO_InitStruct);

  /*Configure GPIO pin : LCD_DC_Pin */
  GPIO_InitStruct.Pin = LCD_DC_Pin;
  GPIO_InitStruct.Mode = GPIO_MODE_OUTPUT_PP;
  GPIO_InitStruct.Pull = GPIO_NOPULL;
  GPIO_InitStruct.Speed = GPIO_SPEED_FREQ_LOW;
  HAL_GPIO_Init(LCD_DC_GPIO_Port, &GPIO_InitStruct);

  /*Configure GPIO pins : LCD_CS_Pin SD_CS_Pin */
  GPIO_InitStruct.Pin = LCD_CS_Pin|SD_CS_Pin;
  GPIO_InitStruct.Mode = GPIO_MODE_OUTPUT_PP;
  GPIO_InitStruct.Pull = GPIO_NOPULL;
  GPIO_InitStruct.Speed = GPIO_SPEED_FREQ_LOW;
  HAL_GPIO_Init(GPIOB, &GPIO_InitStruct);

}

/* USER CODE BEGIN 4 */
void HAL_UART_RxCpltCallback(UART_HandleTypeDef *huart)
{
	 if (huart->Instance == USART1){
		 switch (rxByte1) {
		 case CMD_IZQ:
			 nave1_izq = 1;
			 break;
		 case CMD_IZQ_OFF:
			 nave1_izq = 0;
			 break;
		 case CMD_DER:
			 nave1_der = 1;
			 break;
		 case CMD_DER_OFF:
			 nave1_der = 0;
			 break;
		 case CMD_DIS:
			 nave1_dis = 1;
			 break;
		 case CMD_DIS_OFF:
			 nave1_dis = 0;
			 break;
		 case CMD_SEL:
			 nave1_sel = 1;
			 break;
		 case CMD_SEL_OFF:
			 nave1_sel = 0;
			 break;
		 case CMD_ARR:
			 nave1_arr = 1;
			 break;
		 case CMD_ARR_OFF:
			 nave1_arr = 0;
			 break;
		 case CMD_ABJ:
			 nave1_abj = 1;
			 break;
		 case CMD_ABJ_OFF:
			 nave1_abj = 0;
			 break;
		     }
		 HAL_UART_Receive_IT(&huart1, &rxByte1, 1);
	 }

	 if (huart->Instance == USART6){
		 switch (rxByte2) {
		 case CMD_IZQ:
			 nave2_izq = 1;
			 break;
		 case CMD_IZQ_OFF:
			 nave2_izq = 0;
			 break;
		 case CMD_DER:
			 nave2_der = 1;
			 break;
		 case CMD_DER_OFF:
			 nave2_der = 0;
			 break;
		 case CMD_DIS:
			 nave2_dis = 1;
			 break;
		 case CMD_DIS_OFF:
			 nave2_dis = 0;
			 break;
		 case CMD_SEL:
			 nave2_sel = 1;
			 break;
		 case CMD_SEL_OFF:
			 nave2_sel = 0;
			 break;
		 case CMD_ARR:
			 nave2_arr = 1;
			 break;
		 case CMD_ARR_OFF:
			 nave2_arr = 0;
			 break;
		 case CMD_ABJ:
			 nave2_abj = 1;
			 break;
		 case CMD_ABJ_OFF:
			 nave2_abj = 0;
			 break;
		    }
		 HAL_UART_Receive_IT(&huart6, &rxByte2, 1);
	 }
}
/* USER CODE END 4 */

void Error_Handler(void)
{
  __disable_irq();
  while (1)
  {
  }
}
